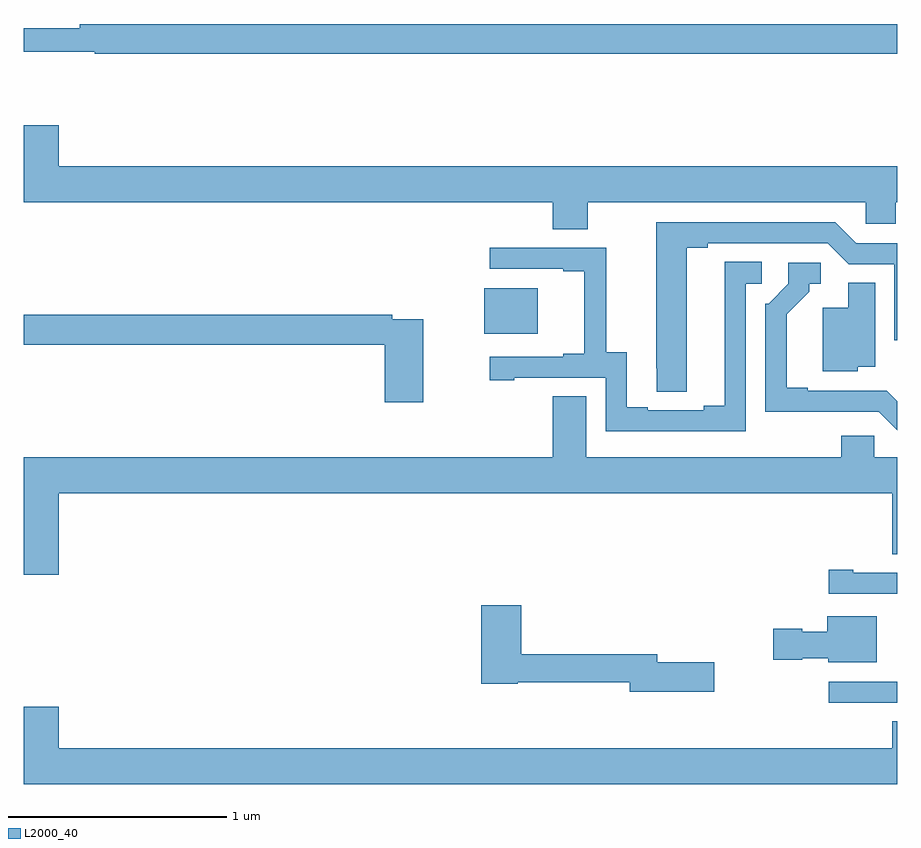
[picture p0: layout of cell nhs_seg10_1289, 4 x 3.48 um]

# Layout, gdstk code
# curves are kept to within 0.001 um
import gdstk
lib = gdstk.Library(unit=1e-6, precision=1e-09)
def R(c, l, rs):  # rectangles x0, y0, x1, y1
    for r in rs: c.add(gdstk.rectangle(r[:2], r[2:], *l))
def P(c, l, *ps):  # polygons
    for p in ps: c.add(gdstk.Polygon(p, *l))
L2000_40 = (2000, 40)

nhs_seg10_1289 = lib.new_cell('nhs_seg10_1289')
R(nhs_seg10_1289, L2000_40, [(180.687,1307.349,181,1307.445), (179.108,1309.037,179.353,1309.246)])
P(nhs_seg10_1289, L2000_40, [(181,1310.456),(177.256,1310.456),(177.256,1310.437),(177,1310.437),(177,1310.328),(177.326,1310.328),(177.326,1310.32),(181,1310.32)],
  [(179.583,1309.64),(180.855,1309.64),(180.855,1309.542),(180.993,1309.542),(180.993,1309.64),(181,1309.64),(181,1309.804),(177.16,1309.804),(177.16,1309.993),(177,1309.993),(177,1309.64),(179.423,1309.64),(179.423,1309.516),(179.583,1309.516)],
  [(180.037,1309.432),(180.133,1309.432),(180.133,1309.452),(180.681,1309.452),(180.777,1309.356),(180.987,1309.356),(180.987,1309.008),(181,1309.008),(181,1309.452),(180.813,1309.452),(180.717,1309.548),(179.897,1309.548),(179.898,1308.772),(180.037,1308.772)],
  [(180.306,1309.266),(180.379,1309.266),(180.379,1309.367),(180.209,1309.367),(180.209,1308.707),(180.113,1308.707),(180.113,1308.687),(179.857,1308.687),(179.857,1308.702),(179.761,1308.702),(179.761,1308.953),(179.667,1308.953),(179.667,1309.431),(179.133,1309.431),(179.133,1309.335),(179.471,1309.335),(179.471,1309.323),(179.567,1309.323),(179.567,1308.946),(179.471,1308.946),(179.471,1308.933),(179.133,1308.933),(179.133,1308.825),(179.245,1308.825),(179.245,1308.837),(179.664,1308.837),(179.664,1308.591),(180.306,1308.591)],
  [(181,1308.728),(180.951,1308.777),(180.589,1308.777),(180.589,1308.79),(180.493,1308.79),(180.493,1309.126),(180.598,1309.231),(180.598,1309.266),(180.649,1309.266),(180.649,1309.362),(180.501,1309.362),(180.501,1309.266),(180.411,1309.176),(180.396,1309.176),(180.396,1308.68),(180.915,1308.681),(181,1308.596)],
  [(180.819,1308.887),(180.898,1308.887),(180.898,1309.271),(180.776,1309.271),(180.776,1309.156),(180.659,1309.156),(180.659,1308.866),(180.819,1308.866)],
  [(178.83,1309.104),(178.688,1309.104),(178.688,1309.124),(177,1309.124),(177,1308.988),(178.652,1308.988),(178.652,1308.723),(178.83,1308.723)],
  [(177.16,1308.308),(180.977,1308.308),(180.977,1308.028),(181,1308.028),(181,1308.472),(180.894,1308.472),(180.894,1308.57),(180.743,1308.57),(180.743,1308.472),(179.575,1308.472),(179.575,1308.752),(179.423,1308.752),(179.423,1308.472),(177,1308.472),(177,1307.934),(177.16,1307.934)],
  [(181,1307.943),(180.799,1307.943),(180.799,1307.956),(180.687,1307.956),(180.687,1307.847),(181,1307.847)],
  [(180.163,1307.534),(179.902,1307.534),(179.902,1307.57),(179.279,1307.57),(179.279,1307.794),(179.096,1307.794),(179.096,1307.434),(179.262,1307.434),(179.262,1307.442),(179.774,1307.442),(179.774,1307.399),(180.163,1307.399)],
  [(180.907,1307.743),(180.68,1307.743),(180.68,1307.674),(180.564,1307.674),(180.564,1307.687),(180.432,1307.687),(180.432,1307.545),(180.564,1307.545),(180.564,1307.552),(180.684,1307.552),(180.684,1307.534),(180.907,1307.534)],
  [(181,1307.264),(180.977,1307.264),(180.977,1307.14),(177.16,1307.14),(177.16,1307.329),(177,1307.329),(177,1306.976),(181,1306.976)])

lib.write_gds('nhs_seg10_1289.gds')
